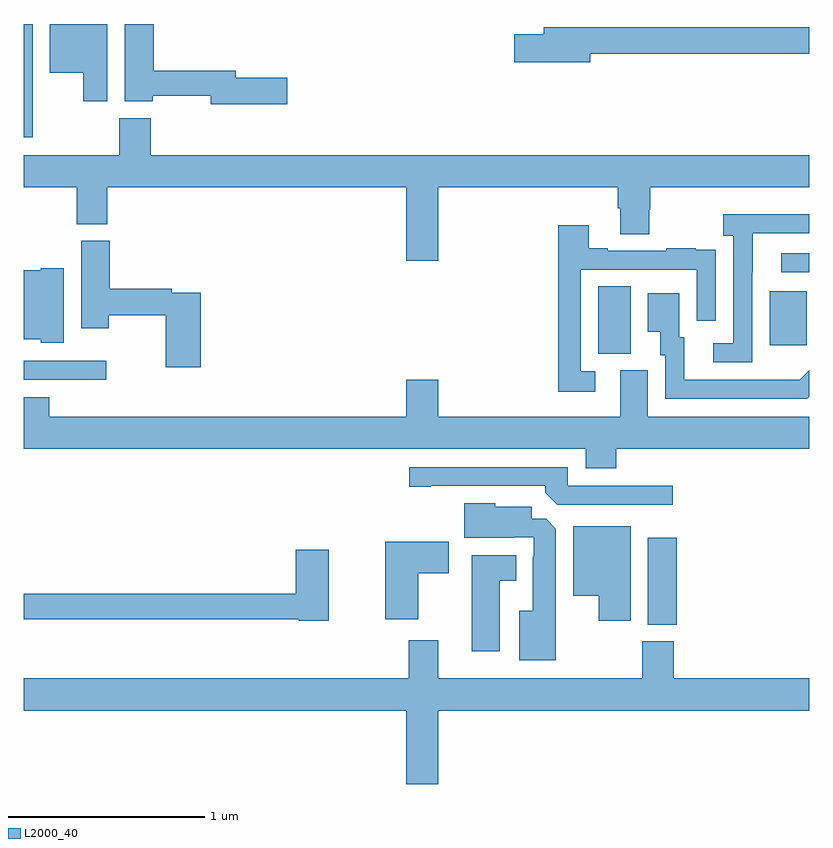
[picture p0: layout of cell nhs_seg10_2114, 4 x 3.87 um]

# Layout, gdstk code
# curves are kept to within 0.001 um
import gdstk
lib = gdstk.Library(unit=1e-6, precision=1e-09)
def R(c, l, rs):  # rectangles x0, y0, x1, y1
    for r in rs: c.add(gdstk.rectangle(r[:2], r[2:], *l))
def P(c, l, *ps):  # polygons
    for p in ps: c.add(gdstk.Polygon(p, *l))
L2000_40 = (2000, 40)

nhs_seg10_2114 = lib.new_cell('nhs_seg10_2114')
R(nhs_seg10_2114, L2000_40, [(226.178,1279.441,226.325,1279.885), (223,1280.688,223.42,1280.784), (225.926,1280.821,226.09,1281.164), (226.799,1280.865,226.987,1281.139), (226.857,1281.237,227,1281.333), (223,1281.923,223.045,1282.5)])
P(nhs_seg10_2114, L2000_40, [(223.426,1282.5),(223.133,1282.5),(223.133,1282.253),(223.304,1282.253),(223.304,1282.107),(223.426,1282.107)],
  [(224.341,1282.226),(224.08,1282.226),(224.08,1282.262),(223.661,1282.262),(223.661,1282.5),(223.514,1282.5),(223.514,1282.106),(223.656,1282.106),(223.656,1282.134),(223.952,1282.134),(223.952,1282.091),(224.341,1282.091)],
  [(225.886,1282.348),(227,1282.348),(227,1282.484),(225.647,1282.484),(225.647,1282.448),(225.498,1282.448),(225.498,1282.306),(225.886,1282.306)],
  [(225.112,1281.668),(226.025,1281.668),(226.025,1281.562),(226.037,1281.562),(226.037,1281.43),(226.185,1281.43),(226.185,1281.555),(226.19,1281.555),(226.19,1281.668),(227,1281.668),(227,1281.832),(223.646,1281.832),(223.646,1282.021),(223.486,1282.021),(223.486,1281.832),(223,1281.832),(223,1281.668),(223.271,1281.668),(223.271,1281.481),(223.424,1281.481),(223.424,1281.668),(224.948,1281.668),(224.948,1281.294),(225.112,1281.294)],
  [(226.71,1281.235),(226.711,1281.235),(226.711,1281.435),(227,1281.435),(227,1281.532),(226.563,1281.532),(226.563,1281.422),(226.614,1281.422),(226.614,1280.874),(226.512,1280.874),(226.512,1280.778),(226.71,1280.778)],
  [(225.91,1280.733),(225.837,1280.733),(225.837,1281.249),(226.428,1281.249),(226.428,1280.988),(226.524,1280.988),(226.524,1281.242),(226.523,1281.242),(226.523,1281.351),(226.421,1281.351),(226.421,1281.358),(226.273,1281.358),(226.273,1281.345),(225.973,1281.345),(225.973,1281.358),(225.877,1281.358),(225.877,1281.475),(225.721,1281.475),(225.721,1280.628),(225.91,1280.628)],
  [(223.901,1281.132),(223.754,1281.132),(223.754,1281.152),(223.439,1281.152),(223.439,1281.396),(223.292,1281.396),(223.292,1280.952),(223.434,1280.952),(223.434,1281.016),(223.723,1281.016),(223.723,1280.751),(223.901,1280.751)],
  [(223.204,1281.256),(223.086,1281.256),(223.086,1281.247),(223,1281.247),(223,1280.894),(223.086,1280.894),(223.086,1280.876),(223.204,1280.876)],
  [(227,1280.602),(227,1280.738),(226.951,1280.689),(226.363,1280.688),(226.363,1280.904),(226.339,1280.904),(226.339,1281.13),(226.178,1281.13),(226.178,1280.933),(226.241,1280.933),(226.241,1280.814),(226.266,1280.814),(226.266,1280.592),(226.99,1280.592)],
  [(226.016,1280.336),(227,1280.336),(227,1280.5),(226.177,1280.5),(226.177,1280.736),(226.037,1280.736),(226.037,1280.5),(225.112,1280.5),(225.112,1280.689),(224.948,1280.689),(224.948,1280.5),(223.13,1280.5),(223.13,1280.599),(223,1280.599),(223,1280.336),(225.863,1280.336),(225.863,1280.237),(226.016,1280.237)],
  [(226.306,1280.148),(225.771,1280.148),(225.771,1280.244),(224.964,1280.244),(224.964,1280.143),(225.076,1280.143),(225.076,1280.148),(225.656,1280.148),(225.656,1280.114),(225.717,1280.052),(226.306,1280.052)],
  [(225.709,1279.931),(225.66,1279.98),(225.586,1279.98),(225.586,1280.041),(225.402,1280.041),(225.402,1280.059),(225.242,1280.059),(225.242,1279.883),(225.497,1279.883),(225.497,1279.887),(225.597,1279.887),(225.597,1279.787),(225.593,1279.787),(225.593,1279.513),(225.524,1279.513),(225.524,1279.259),(225.709,1279.259)],
  [(226.09,1279.942),(225.797,1279.942),(225.797,1279.589),(225.929,1279.589),(225.929,1279.461),(226.09,1279.461)],
  [(225.01,1279.702),(225.163,1279.702),(225.163,1279.864),(224.84,1279.864),(224.84,1279.469),(225.01,1279.469)],
  [(224.554,1279.822),(224.384,1279.822),(224.384,1279.598),(223,1279.598),(223,1279.47),(224.4,1279.47),(224.4,1279.462),(224.554,1279.462)],
  [(225.424,1279.664),(225.508,1279.664),(225.508,1279.795),(225.281,1279.795),(225.281,1279.307),(225.424,1279.307)],
  [(225.112,1279.004),(227,1279.004),(227,1279.168),(226.31,1279.168),(226.31,1279.356),(226.15,1279.356),(226.15,1279.168),(225.112,1279.168),(225.112,1279.363),(224.96,1279.363),(224.96,1279.168),(223,1279.168),(223,1279.004),(224.948,1279.004),(224.948,1278.63),(225.112,1278.63)])

lib.write_gds('nhs_seg10_2114.gds')
